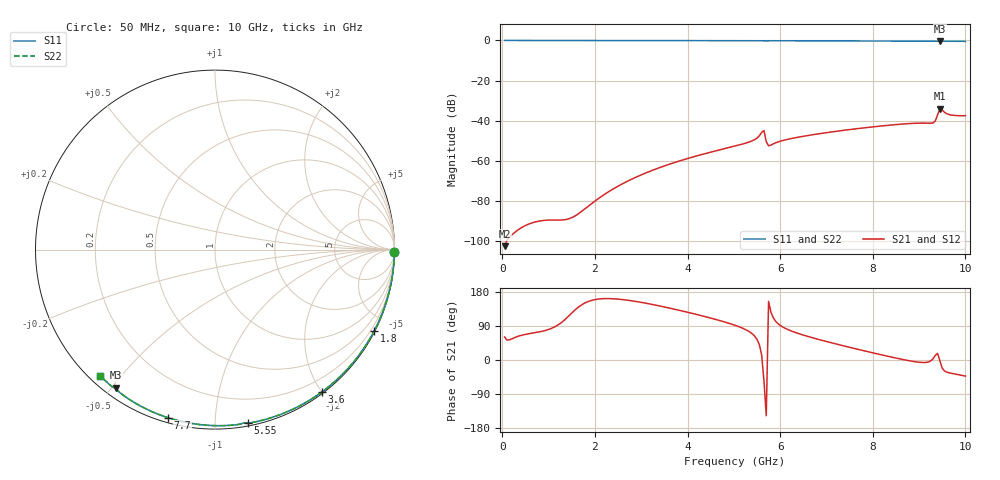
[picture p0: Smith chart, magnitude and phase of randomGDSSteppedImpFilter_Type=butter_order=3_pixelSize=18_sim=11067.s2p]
! freq	dB(S11)	phase(S11)	dB(S12)	phase(S12)
!  dB(S21)	phase(S21)	dB(S22)	phase(S22)
!S-par simulation data
#  GHz  S  DB  R 50
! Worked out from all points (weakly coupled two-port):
!   200 points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, 50 MHz to 10 GHz, reference 50 ohm
!   highest |S21| = -34.07 dB at 9.45 GHz (marker M1); lowest = -102.6 dB at 50 MHz (marker M2)
!   lowest |S11| = -0.5 dB at 9.45 GHz (marker M3), VSWR 36.92, Z = 1.71 - j25.7 ohm
!   |S11| at or under -10 dB: nowhere
!   |S22| runs from -0.5 to 0.0 dB; largest |S21 - S12| = 0
!   S11 on the Smith chart (normalised r, x): 50 MHz: open; 1.8 GHz: 0.04, -4.15; 3.6 GHz: 0.02, -2.01; 5.55 GHz: 0.02, -1.21; 7.7 GHz: 0.02, -0.76; 10 GHz: 0.03, -0.44
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0.05  -0.00 -0.8  -102.62 60.8  -102.62 60.8  -0.00 -0.8
1.75  -0.03 -26.4  -84.60 148.3  -84.60 148.3  -0.03 -26.4
1.8  -0.03 -27.1  -83.69 151.4  -83.69 151.4  -0.03 -27.1
2  -0.04 -30.1  -80.13 159.4  -80.13 159.4  -0.04 -30.1
2.65  -0.05 -39.5  -70.83 158.7  -70.83 158.7  -0.05 -39.5
3.4  -0.07 -50.2  -63.41 142.5  -63.41 142.5  -0.07 -50.2
3.6  -0.07 -53.0  -61.80 137.3  -61.80 137.3  -0.07 -53.0
5.05  -0.11 -72.7  -52.52 90.6  -52.52 90.6  -0.11 -72.7
5.4  -0.12 -77.3  -50.02 68.8  -50.02 68.8  -0.12 -77.3
5.55  -0.14 -79.3  -47.60 40.8  -47.60 40.8  -0.14 -79.3
5.65  -0.20 -80.6  -44.92 -54.8  -44.92 -54.8  -0.20 -80.6
5.7  -0.18 -80.9  -50.44 -147.0  -50.44 -147.0  -0.18 -80.9
5.75  -0.16 -81.6  -52.57 154.6  -52.57 154.6  -0.16 -81.6
6.1  -0.15 -86.1  -49.65 84.1  -49.65 84.1  -0.15 -86.1
6.7  -0.18 -93.6  -47.04 58.6  -47.04 58.6  -0.18 -93.6
7.7  -0.24 -105.7  -43.89 27.5  -43.89 27.5  -0.24 -105.7
8.35  -0.29 -113.3  -42.28 9.1  -42.28 9.1  -0.29 -113.3
9.3  -0.40 -124.5  -41.14 2.9  -41.14 2.9  -0.40 -124.5
9.35  -0.42 -125.1  -40.15 12.2  -40.15 12.2  -0.42 -125.1
9.45  -0.47 -125.6  -34.07 -2.2  -34.07 -2.2  -0.47 -125.6
9.65  -0.41 -128.1  -36.98 -33.8  -36.98 -33.8  -0.41 -128.1
10  -0.44 -132.2  -37.53 -42.5  -37.53 -42.5  -0.44 -132.2
